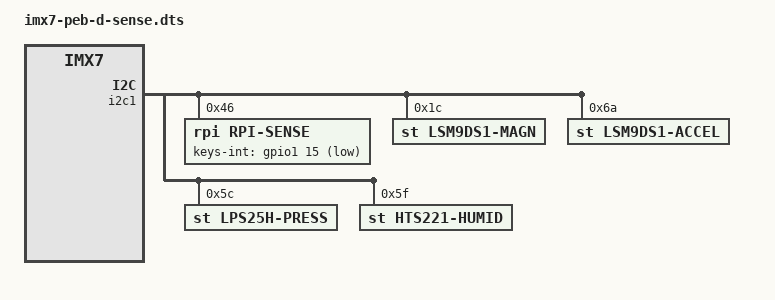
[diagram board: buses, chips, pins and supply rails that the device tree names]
/*
 * Copyright (C) 2018 PHYTEC America, LLC
 *
 * This program is free software; you can redistribute it and/or modify
 * it under the terms of the GNU General Public License version 2 as
 * published by the Free Software Foundation.
 */

/dts-v1/;
/plugin/;

#include "imx7d-pinfunc.h"
#include <dt-bindings/gpio/gpio.h>

/ {
	compatible = "phytec,imx7-phycore-som";

	fragment@0 {
		target = <&i2c1>;
		__overlay__ {
			#address-cells = <1>;
			#size-cells = <0>;

			rpi-sense@46 {
				compatible = "rpi,rpi-sense";
				reg = <0x46>;
				keys-int-gpios = <&gpio1 15 GPIO_ACTIVE_LOW>;
				status = "okay";
			};

			lsm9ds1-magn@1c {
				compatible = "st,lsm9ds1-magn";
				reg = <0x1c>;
				status = "okay";
			};

			lsm9ds1-accel@6a {
				compatible = "st,lsm9ds1-accel";
				reg = <0x6a>;
				status = "okay";
			};

			lps25h-press@5c {
				compatible = "st,lps25h-press";
				reg = <0x5c>;
				status = "okay";
			};

			hts221-humid@5f {
				compatible = "st,hts221-humid";
				reg = <0x5f>;
				status = "okay";
			};
		};
	};
};
